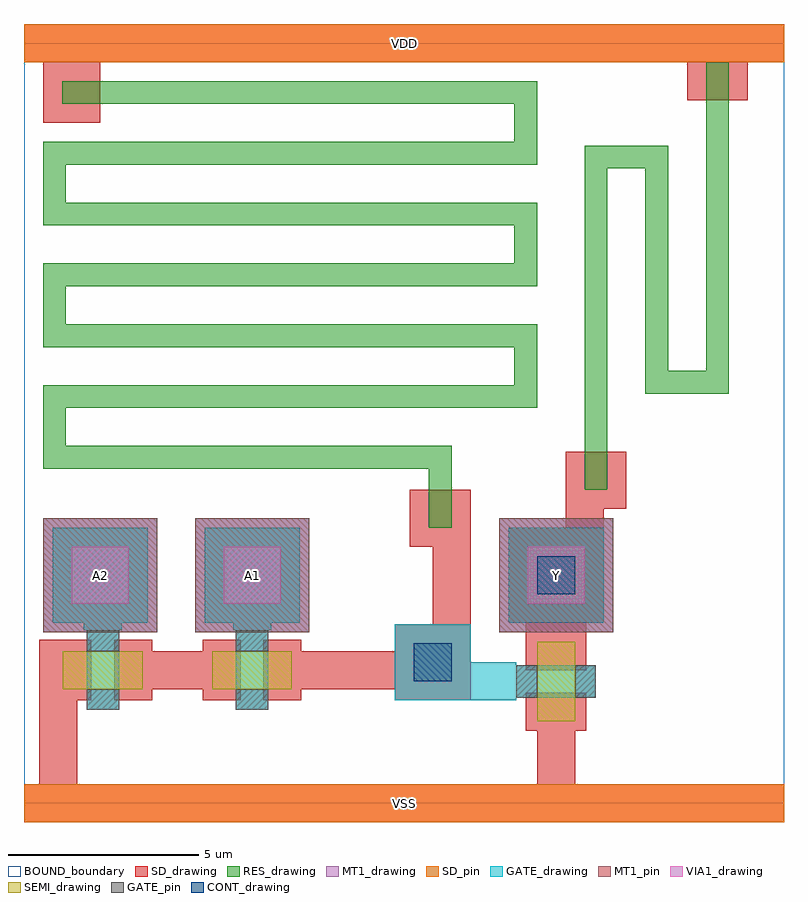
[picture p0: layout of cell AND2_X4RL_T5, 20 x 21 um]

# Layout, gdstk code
from math import pi, radians
import gdstk
lib = gdstk.Library(unit=1e-6, precision=1e-09)
def R(c, l, rs):  # rectangles x0, y0, x1, y1
    for r in rs: c.add(gdstk.rectangle(r[:2], r[2:], *l))
def P(c, l, *ps):  # polygons
    for p in ps: c.add(gdstk.Polygon(p, *l))
RES_drawing = (1, 0)
SEMI_drawing = (3, 0)
SD_drawing = (10, 0)
SD_pin = (10, 3)
GATE_drawing = (11, 0)
GATE_pin = (11, 3)
MT1_drawing = (20, 0)
MT1_pin = (20, 3)
CONT_drawing = (30, 0)
VIA1_drawing = (41, 0)
BOUND_boundary = (150, 5)

res_cdns_772544883370 = lib.new_cell('res_CDNS_772544883370')
R(res_cdns_772544883370, SD_drawing, [(10.15,6.75,11.75,8.25), (0.5,17.9,2,19.5)])
res_cdns_772544883370.add(gdstk.FlexPath([(2,18.7),(13.2,18.7),(13.2,17.1),(0.8,17.1),(0.8,15.5),(13.2,15.5),(13.2,13.9),(0.8,13.9),(0.8,12.3),(13.2,12.3),(13.2,10.7),(0.8,10.7),(0.8,9.1),(10.95,9.1),(10.95,8.25)], 0.6, ends=(1, 1), simple_path=True, layer=1, datatype=0))  # RES_drawing

nch_cdns_772544883371 = lib.new_cell('nch_CDNS_772544883371')
R(nch_cdns_772544883371, SEMI_drawing, [(-1.05,-0.5,1.05,0.5)])
R(nch_cdns_772544883371, SD_drawing, [(-1.3,-0.8,-0.3,0.8), (0.3,-0.8,1.3,0.8)])
R(nch_cdns_772544883371, GATE_drawing, [(-0.425,-1.05,0.425,1.05)])
R(nch_cdns_772544883371, GATE_pin, [(-0.425,-1.05,0.425,-0.5), (-0.425,0.5,0.425,1.05)])

sd_gate_cdns_77254488337 = lib.new_cell('SD_GATE_CDNS_772544883370')
R(sd_gate_cdns_77254488337, SD_drawing, [(-1,-1,1,1)])
R(sd_gate_cdns_77254488337, GATE_drawing, [(-1,-1,1,1)])
R(sd_gate_cdns_77254488337, CONT_drawing, [(-0.5,-0.5,0.5,0.5)])

c_sd_gate_cdns_77254488337 = lib.new_cell('SD_GATE_CDNS_772544883371')
R(c_sd_gate_cdns_77254488337, SD_drawing, [(-1.25,-1.25,1.25,1.25)])
R(c_sd_gate_cdns_77254488337, GATE_drawing, [(-1.25,-1.25,1.25,1.25)])
R(c_sd_gate_cdns_77254488337, CONT_drawing, [(-0.5,-0.5,0.5,0.5)])

gate_mt1_cdns_7725448833 = lib.new_cell('GATE_MT1_CDNS_772544883372')
R(gate_mt1_cdns_7725448833, GATE_drawing, [(-1.25,-1.25,1.25,1.25)])
R(gate_mt1_cdns_7725448833, MT1_drawing, [(-1.5,-1.5,1.5,1.5)])
R(gate_mt1_cdns_7725448833, VIA1_drawing, [(-0.75,-0.75,0.75,0.75)])

and2_x4rl_t5 = lib.new_cell('AND2_X4RL_T5')
R(and2_x4rl_t5, SD_drawing, [(0,-0.5,20,0.5), (0.4,0.5,1.4,4.3), (13.5,0.5,14.5,1.95), (3.375,3,4.7,4), (7.3,3,9.75,4), (13.2,4.5,14.8,4.75), (10.75,4.7,11.75,6.75), (14.25,7.25,15.25,7.75), (14.25,7.75,15.85,9.25), (17.45,18.5,19.05,20), (0,19.5,20,20.5)])
R(and2_x4rl_t5, SD_pin, [(0,-0.5,20,0.5), (0,19.5,20,20.5)])
R(and2_x4rl_t5, GATE_drawing, [(11.75,2.7,12.85,3.7), (1.575,4.675,2.575,4.75), (5.5,4.675,6.5,4.75)])
P(and2_x4rl_t5, GATE_drawing, [(2.575,4.675),(1.575,4.675),(1.575,4.55),(1.7,4.55),(1.7,4.5),(2.45,4.5),(2.45,4.55),(2.575,4.55)],
  [(6.5,4.675),(5.5,4.675),(5.5,4.55),(5.625,4.55),(5.625,4.5),(6.375,4.5),(6.375,4.55),(6.5,4.55)],
  [(12.85,3.7),(12.85,2.7),(12.95,2.7),(12.95,2.825),(13,2.825),(13,3.575),(12.95,3.575),(12.95,3.7)])
R(and2_x4rl_t5, MT1_drawing, [(0.5,4.5,3.5,7.5), (4.5,4.5,7.5,7.5), (12.5,4.5,15.5,7.5)])
R(and2_x4rl_t5, MT1_pin, [(0.5,4.5,3.5,7.5), (4.5,4.5,7.5,7.5), (12.5,4.5,15.5,7.5)])
R(and2_x4rl_t5, BOUND_boundary, [(0,0,20,20)])
and2_x4rl_t5.add(gdstk.FlexPath([(15.05,9.25),(15.05,17),(16.65,17),(16.65,11.075),(18.25,11.075),(18.25,18.5)], 0.6, ends=(1, 1), simple_path=True, layer=1, datatype=0))  # RES_drawing
and2_x4rl_t5.add(gdstk.Reference(res_cdns_772544883370, (0,0)))
and2_x4rl_t5.add(gdstk.Reference(nch_cdns_772544883371, (14,3.2), rotation=pi/2))
and2_x4rl_t5.add(gdstk.Reference(nch_cdns_772544883371, (6,3.5)))
and2_x4rl_t5.add(gdstk.Reference(nch_cdns_772544883371, (2.075,3.5)))
and2_x4rl_t5.add(gdstk.Reference(sd_gate_cdns_77254488337, (10.75,3.7)))
and2_x4rl_t5.add(gdstk.Reference(c_sd_gate_cdns_77254488337, (14,6)))
and2_x4rl_t5.add(gdstk.Reference(gate_mt1_cdns_7725448833, (14,6)))
and2_x4rl_t5.add(gdstk.Reference(gate_mt1_cdns_7725448833, (6,6)))
and2_x4rl_t5.add(gdstk.Reference(gate_mt1_cdns_7725448833, (2,6)))
and2_x4rl_t5.add(gdstk.Label('VDD', (10,20), layer=10, texttype=3))
and2_x4rl_t5.add(gdstk.Label('VSS', (10,0), layer=10, texttype=3))
and2_x4rl_t5.add(gdstk.Label('Y', (14,6), layer=20, texttype=3))
and2_x4rl_t5.add(gdstk.Label('A2', (2,6), layer=20, texttype=3))
and2_x4rl_t5.add(gdstk.Label('A1', (6,6), layer=20, texttype=3))

lib.write_gds('AND2_X4RL_T5.gds')
